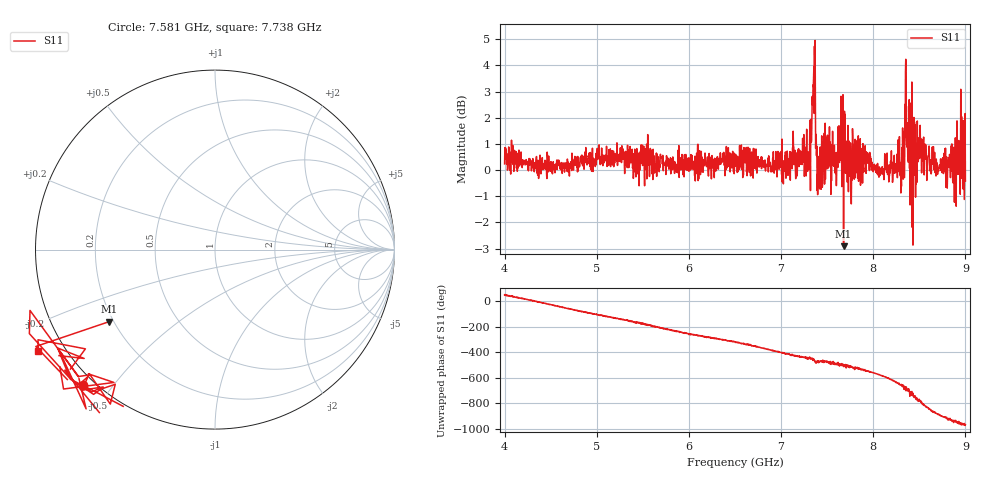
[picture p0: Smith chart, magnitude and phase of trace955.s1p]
! Created with skrf 1.8.0 (http://scikit-rf.org).
# Hz S RI R 50.0
!freq ReS11 ImS11
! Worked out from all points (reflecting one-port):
!   1601 points, 4 GHz to 9 GHz, reference 50 ohm
!   lowest |S11| = -2.9 dB at 7.678 GHz (marker M1), VSWR 6.03, Z = 9.06 - j14.9 ohm
!   phase of S11 starts at 52 deg and turns -1017 deg over the sweep
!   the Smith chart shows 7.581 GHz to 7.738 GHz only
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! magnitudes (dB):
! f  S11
! 4 GHz  0.2
! 4.625 GHz  -0.1
! 5.25 GHz  0.3
! 5.875 GHz  0.1
! 6.5 GHz  0.6
! 7.038 GHz  0.2
! 7.125 GHz  0.9
! 7.294 GHz  0.2
! 7.319 GHz  -0.8
! 7.347 GHz  3.3
! 7.362 GHz  4.7
! 7.409 GHz  0.3
! 7.481 GHz  -0.4
! 7.591 GHz  0.7
! 7.65 GHz  2.8
! 7.678 GHz  -2.9
! 7.75 GHz  -0.2
! 8.312 GHz  0.9
! 8.334 GHz  1.5
! 8.375 GHz  0.4
! 8.406 GHz  0.2
! 8.447 GHz  1.8
! 8.459 GHz  -1.0
! 8.503 GHz  0.4
! 8.694 GHz  0.3
! 8.9 GHz  -1.4
! 8.972 GHz  0.7
! 9 GHz  -0.4
